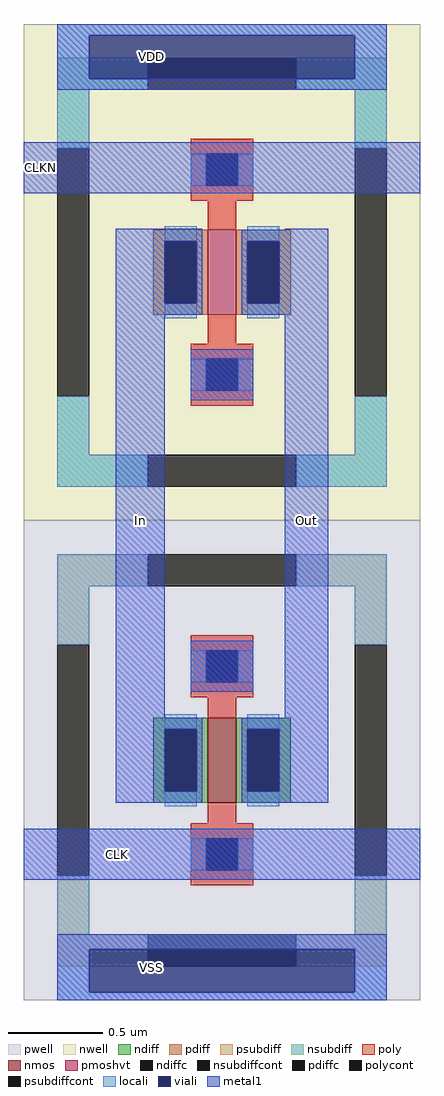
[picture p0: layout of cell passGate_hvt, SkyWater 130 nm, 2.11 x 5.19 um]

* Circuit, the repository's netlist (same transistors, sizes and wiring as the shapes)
* Extracted by KLayout with SKY130 LVS runset on : 03/11/2024 02:36

.SUBCKT passGate_hvt CLK In Out CLKN VDD sky130_gnd
M$1 In CLKN Out VDD sky130_fd_pr__pfet_01v8_hvt L=0.15 W=0.45 AS=0.135 AD=0.135
+ PS=1.5 PD=1.5
M$2 In CLK Out sky130_gnd sky130_fd_pr__nfet_01v8 L=0.15 W=0.45 AS=0.135
+ AD=0.135 PS=1.5 PD=1.5
.ENDS passGate_hvt

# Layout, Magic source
magic
tech sky130A
magscale 1 2
<< nwell >>
rect 1344 -636 1346 -582
rect 1040 -676 1114 -674
rect 1040 -984 1074 -676
<< pwell >>
rect 1040 -998 1074 -984
rect 1068 -1182 1074 -998
rect 1022 -1284 1074 -1182
rect 924 -1366 1346 -1312
rect 1160 -1494 1310 -1424
<< locali >>
rect 960 -468 1310 -456
rect 960 -492 994 -468
rect 1276 -492 1310 -468
rect 960 -1440 1310 -1424
rect 960 -1486 994 -1440
rect 1276 -1486 1310 -1440
rect 960 -1494 1310 -1486
<< viali >>
rect 994 -514 1276 -468
rect 994 -1486 1276 -1440
<< metal1 >>
rect 960 -468 1310 -456
rect 960 -514 994 -468
rect 1276 -514 1310 -468
rect 960 -526 1310 -514
rect 924 -636 1346 -582
rect 1022 -676 1114 -674
rect 1022 -1284 1074 -676
rect 1102 -856 1168 -802
rect 1102 -1166 1168 -1112
rect 1202 -1284 1248 -674
rect 924 -1366 1346 -1312
rect 960 -1440 1310 -1424
rect 960 -1486 994 -1440
rect 1276 -1486 1310 -1440
rect 960 -1494 1310 -1486
use sky130_fd_pr__nfet_01v8_4A3DHF  XM1
transform 1 0 1135 0 1 -1239
box -211 -255 211 255
use sky130_fd_pr__pfet_01v8_hvt_SNMNDE  XM2
transform 1 0 1135 0 1 -720
box -211 -264 211 264
<< labels >>
flabel metal1 1022 -1020 1074 -948 0 FreeSans 256 0 0 0 In
port 0 nsew
flabel metal1 1202 -1020 1248 -948 0 FreeSans 256 0 0 0 Out
port 5 nsew
flabel metal1 960 -526 1160 -456 0 FreeSans 256 0 0 0 VDD
port 3 nsew
flabel metal1 924 -636 960 -582 0 FreeSans 256 0 0 0 CLKN
port 1 nsew
flabel metal1 924 -1366 1124 -1312 0 FreeSans 256 0 0 0 CLK
port 4 nsew
flabel metal1 960 -1494 1160 -1424 0 FreeSans 256 0 0 0 VSS
port 2 nsew
<< end >>

# cell sky130_fd_pr__nfet_01v8_4A3DHF: kit device sky130_fd_pr__nfet_01v8, w 0.45 l 0.15 m 1 nf 1 diffcov 100 polycov 100 guard 1 glc 1 grc 1 gtc 1 gbc 1 tbcov 100 rlcov 100 topc 1 botc 1 poverlap 0 doverlap 1 lmin 0.15 wmin 0.42 class mosfet compatible {sky130_fd_pr__nfet_01v8 sky130_fd_pr__nfet_01v8_lvt sky130_fd_bs_flash__special_sonosfet_star sky130_fd_pr__nfet_g5v0d10v5 sky130_fd_pr__nfet_05v0_nvt sky130_fd_pr__nfet_03v3_nvt} full_metal 1 viasrc 100 viadrn 100 viagate 100 viagb 0 viagr 0 viagl 0 viagt 0 ad {int((nf+1)/2) * W/nf * 0.29} as {int((nf+2)/2) * W/nf * 0.29} pd {2*int((nf+1)/2) * (W/nf + 0.29)} ps {2*int((nf+2)/2) * (W/nf + 0.29)} nrd {0.29 / W} nrs {0.29 / W} sa 0 sb 0 sd 0 mult 1

# cell sky130_fd_pr__pfet_01v8_hvt_SNMNDE: kit device sky130_fd_pr__pfet_01v8_hvt, w 0.45 l 0.15 m 1 nf 1 diffcov 100 polycov 100 guard 1 glc 1 grc 1 gtc 1 gbc 1 tbcov 100 rlcov 100 topc 1 botc 1 poverlap 0 doverlap 1 lmin 0.15 wmin 0.42 class mosfet compatible {sky130_fd_pr__pfet_01v8 sky130_fd_pr__pfet_01v8_lvt sky130_fd_pr__pfet_01v8_hvt sky130_fd_pr__pfet_g5v0d10v5} full_metal 1 viasrc 100 viadrn 100 viagate 100 viagb 0 viagr 0 viagl 0 viagt 0 ad {int((nf+1)/2) * W/nf * 0.29} as {int((nf+2)/2) * W/nf * 0.29} pd {2*int((nf+1)/2) * (W/nf + 0.29)} ps {2*int((nf+2)/2) * (W/nf + 0.29)} nrd {0.29 / W} nrs {0.29 / W} sa 0 sb 0 sd 0 mult 1
